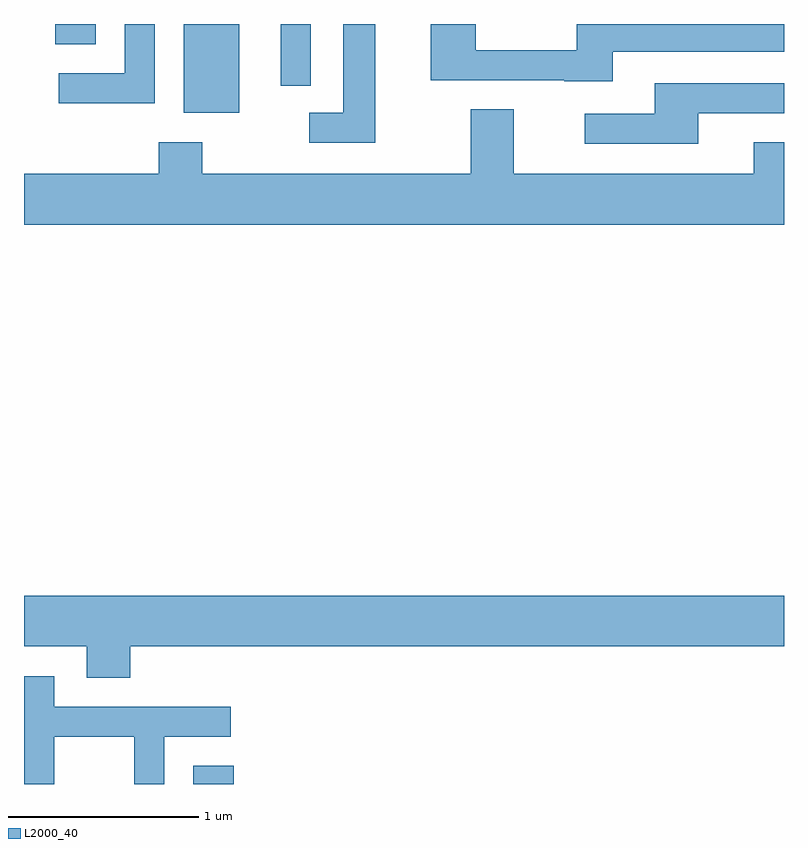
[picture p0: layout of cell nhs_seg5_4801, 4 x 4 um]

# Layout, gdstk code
import gdstk
lib = gdstk.Library(unit=1e-6, precision=1e-09)
def R(c, l, rs):  # rectangles x0, y0, x1, y1
    for r in rs: c.add(gdstk.rectangle(r[:2], r[2:], *l))
def P(c, l, *ps):  # polygons
    for p in ps: c.add(gdstk.Polygon(p, *l))
L2000_40 = (2000, 40)

nhs_seg5_4801 = lib.new_cell('nhs_seg5_4801')
R(nhs_seg5_4801, L2000_40, [(328.501,1456.072,328.714,1456.169), (328.451,1459.606,328.744,1460.072), (328.961,1459.748,329.119,1460.072), (327.776,1459.966,327.989,1460.072)])
P(nhs_seg5_4801, L2000_40, [(328.299,1460.072),(328.141,1460.072),(328.141,1459.814),(327.793,1459.814),(327.793,1459.656),(328.299,1459.656)],
  [(330.709,1459.926),(331.611,1459.926),(331.611,1460.072),(330.521,1460.072),(330.521,1459.934),(329.989,1459.934),(329.989,1460.072),(329.751,1460.072),(329.751,1459.776),(330.455,1459.776),(330.455,1459.771),(330.709,1459.771)],
  [(329.459,1460.072),(329.291,1460.072),(329.291,1459.604),(329.113,1459.604),(329.113,1459.446),(329.459,1459.446)],
  [(331.159,1459.601),(331.611,1459.601),(331.611,1459.759),(330.931,1459.759),(330.931,1459.599),(330.563,1459.599),(330.563,1459.441),(331.159,1459.441)],
  [(331.611,1459.449),(331.451,1459.449),(331.451,1459.284),(330.189,1459.284),(330.189,1459.624),(329.961,1459.624),(329.961,1459.284),(328.549,1459.284),(328.549,1459.449),(328.321,1459.449),(328.321,1459.284),(327.611,1459.284),(327.611,1459.016),(331.611,1459.016)],
  [(328.169,1456.796),(331.611,1456.796),(331.611,1457.064),(327.611,1457.064),(327.611,1456.796),(327.941,1456.796),(327.941,1456.631),(328.169,1456.631)],
  [(327.769,1456.321),(328.191,1456.321),(328.191,1456.072),(328.349,1456.072),(328.349,1456.321),(328.698,1456.321),(328.698,1456.479),(327.769,1456.479),(327.769,1456.639),(327.611,1456.639),(327.611,1456.072),(327.769,1456.072)])

lib.write_gds('nhs_seg5_4801.gds')
